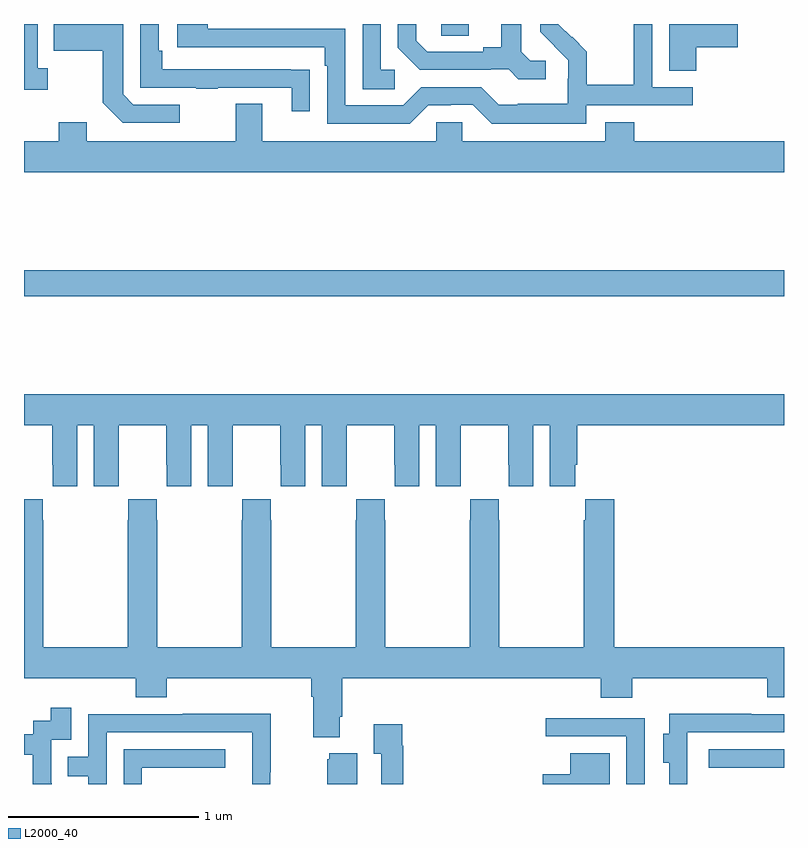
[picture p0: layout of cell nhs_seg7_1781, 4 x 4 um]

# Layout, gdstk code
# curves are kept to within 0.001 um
import gdstk
lib = gdstk.Library(unit=1e-6, precision=1e-09)
def R(c, l, rs):  # rectangles x0, y0, x1, y1
    for r in rs: c.add(gdstk.rectangle(r[:2], r[2:], *l))
def P(c, l, *ps):  # polygons
    for p in ps: c.add(gdstk.Polygon(p, *l))
L2000_40 = (2000, 40)

nhs_seg7_1781 = lib.new_cell('nhs_seg7_1781')
R(nhs_seg7_1781, L2000_40, [(234.603,1060.086,235,1060.182), (231,1062.568,235,1062.704), (233.196,1063.939,233.341,1064)])
P(nhs_seg7_1781, L2000_40, [(234.539,1063.877),(234.757,1063.877),(234.757,1064),(234.395,1064),(234.395,1063.753),(234.539,1063.753)],
  [(232.505,1063.76),(232.403,1063.76),(232.403,1063.761),(231.728,1063.761),(231.728,1063.858),(231.708,1063.858),(231.708,1064),(231.612,1064),(231.612,1063.665),(231.907,1063.665),(231.907,1063.66),(232.019,1063.66),(232.019,1063.665),(232.409,1063.665),(232.409,1063.542),(232.505,1063.542)],
  [(231.82,1063.575),(231.576,1063.575),(231.522,1063.629),(231.522,1064),(231.157,1064),(231.157,1063.858),(231.414,1063.858),(231.414,1063.585),(231.519,1063.479),(231.82,1063.479)],
  [(233.746,1063.806),(233.664,1063.806),(233.617,1063.853),(233.617,1064),(233.513,1064),(233.513,1063.877),(233.417,1063.877),(233.417,1063.854),(233.122,1063.854),(233.065,1063.911),(233.065,1064),(232.968,1064),(232.968,1063.874),(233.084,1063.758),(233.456,1063.758),(233.456,1063.761),(233.55,1063.761),(233.602,1063.709),(233.746,1063.709)],
  [(231.124,1063.766),(231.072,1063.766),(231.072,1064),(231,1064),(231,1063.653),(231.124,1063.653)],
  [(232.951,1063.758),(232.878,1063.758),(232.878,1064),(232.782,1064),(232.782,1063.657),(232.951,1063.657)],
  [(233.958,1063.572),(234.52,1063.572),(234.52,1063.668),(234.306,1063.668),(234.306,1064),(234.21,1064),(234.21,1063.904),(234.208,1063.904),(234.208,1063.681),(233.963,1063.681),(233.963,1063.855),(233.886,1063.932),(233.883,1063.929),(233.813,1064),(233.718,1064),(233.718,1063.958),(233.864,1063.81),(233.864,1063.713),(233.862,1063.713),(233.862,1063.579),(233.599,1063.579),(233.599,1063.575),(233.499,1063.575),(233.406,1063.668),(233.091,1063.668),(232.995,1063.572),(232.692,1063.572),(232.692,1063.974),(231.968,1063.974),(231.968,1064),(231.807,1064),(231.807,1063.878),(232.583,1063.878),(232.583,1063.781),(232.596,1063.781),(232.596,1063.476),(233.031,1063.476),(233.127,1063.572),(233.246,1063.572),(233.246,1063.575),(233.361,1063.575),(233.461,1063.475),(233.958,1063.475)],
  [(235,1063.384),(234.212,1063.384),(234.212,1063.483),(234.059,1063.483),(234.059,1063.384),(233.307,1063.384),(233.307,1063.482),(233.169,1063.482),(233.169,1063.384),(232.255,1063.384),(232.255,1063.579),(232.115,1063.579),(232.115,1063.384),(231.331,1063.384),(231.331,1063.483),(231.184,1063.483),(231.184,1063.384),(231,1063.384),(231,1063.22),(235,1063.22)],
  [(231.28,1061.888),(231.368,1061.888),(231.368,1061.568),(231.498,1061.568),(231.498,1061.68),(231.499,1061.68),(231.499,1061.888),(231.749,1061.888),(231.749,1061.68),(231.75,1061.68),(231.75,1061.568),(231.88,1061.568),(231.88,1061.888),(231.968,1061.888),(231.968,1061.568),(232.098,1061.568),(232.098,1061.68),(232.099,1061.68),(232.099,1061.888),(232.349,1061.888),(232.349,1061.68),(232.35,1061.68),(232.35,1061.568),(232.48,1061.568),(232.48,1061.888),(232.568,1061.888),(232.568,1061.568),(232.698,1061.568),(232.698,1061.68),(232.699,1061.68),(232.699,1061.888),(232.949,1061.888),(232.949,1061.68),(232.95,1061.68),(232.95,1061.568),(233.08,1061.568),(233.08,1061.888),(233.168,1061.888),(233.168,1061.568),(233.298,1061.568),(233.298,1061.68),(233.299,1061.68),(233.299,1061.888),(233.549,1061.888),(233.549,1061.68),(233.55,1061.68),(233.55,1061.568),(233.68,1061.568),(233.68,1061.888),(233.768,1061.888),(233.768,1061.568),(233.902,1061.568),(233.902,1061.68),(233.912,1061.68),(233.912,1061.888),(235,1061.888),(235,1062.052),(231,1062.052),(231,1061.888),(231.149,1061.888),(231.149,1061.68),(231.15,1061.68),(231.15,1061.568),(231.28,1061.568)],
  [(232.663,1060.354),(232.676,1060.354),(232.676,1060.556),(234.035,1060.556),(234.035,1060.454),(234.2,1060.454),(234.2,1060.556),(234.911,1060.556),(234.911,1060.457),(235,1060.457),(235,1060.72),(234.107,1060.72),(234.107,1061.5),(233.953,1061.5),(233.953,1061.387),(233.947,1061.387),(233.947,1060.72),(233.502,1060.72),(233.502,1061.387),(233.499,1061.387),(233.499,1061.5),(233.349,1061.5),(233.349,1061.387),(233.347,1061.387),(233.347,1060.72),(232.902,1060.72),(232.902,1061.387),(232.899,1061.387),(232.899,1061.5),(232.749,1061.5),(232.749,1061.387),(232.747,1061.387),(232.747,1060.72),(232.302,1060.72),(232.302,1061.387),(232.299,1061.387),(232.299,1061.5),(232.149,1061.5),(232.149,1061.387),(232.147,1061.387),(232.147,1060.72),(231.702,1060.72),(231.702,1061.387),(231.699,1061.387),(231.699,1061.5),(231.549,1061.5),(231.549,1061.387),(231.547,1061.387),(231.547,1060.72),(231.102,1060.72),(231.102,1061.387),(231.099,1061.387),(231.099,1061.5),(231,1061.5),(231,1060.556),(231.587,1060.556),(231.587,1060.457),(231.752,1060.457),(231.752,1060.556),(232.511,1060.556),(232.511,1060.46),(232.523,1060.46),(232.523,1060.247),(232.663,1060.247)],
  [(231.146,1060.004),(231.144,1060.004),(231.144,1060.233),(231.249,1060.233),(231.249,1060.402),(231.141,1060.402),(231.141,1060.332),(231.048,1060.332),(231.048,1060.263),(231,1060.263),(231,1060.155),(231.047,1060.155),(231.047,1060),(231.146,1060)],
  [(231.435,1060.272),(232.2,1060.272),(232.2,1060),(232.296,1060),(232.296,1060.063),(232.299,1060.063),(232.299,1060.37),(231.835,1060.37),(231.835,1060.368),(231.339,1060.368),(231.339,1060.143),(231.229,1060.143),(231.229,1060.042),(231.339,1060.042),(231.339,1060),(231.435,1060)],
  [(234.492,1060.272),(235,1060.272),(235,1060.368),(234.827,1060.368),(234.827,1060.37),(234.396,1060.37),(234.396,1060.264),(234.365,1060.264),(234.365,1060.112),(234.396,1060.112),(234.396,1060),(234.492,1060)],
  [(234.267,1060.347),(233.745,1060.347),(233.745,1060.251),(234.171,1060.251),(234.171,1060),(234.267,1060)],
  [(232.997,1060.202),(232.99,1060.202),(232.99,1060.315),(232.841,1060.315),(232.841,1060.159),(232.881,1060.159),(232.881,1060),(232.997,1060)],
  [(231.621,1060.086),(232.06,1060.086),(232.06,1060.182),(231.525,1060.182),(231.525,1060),(231.621,1060)],
  [(232.753,1060.162),(232.607,1060.162),(232.607,1060.131),(232.595,1060.131),(232.595,1060),(232.753,1060)],
  [(234.082,1060.162),(233.876,1060.162),(233.876,1060.051),(233.73,1060.051),(233.73,1060),(234.082,1060)])

lib.write_gds('nhs_seg7_1781.gds')
